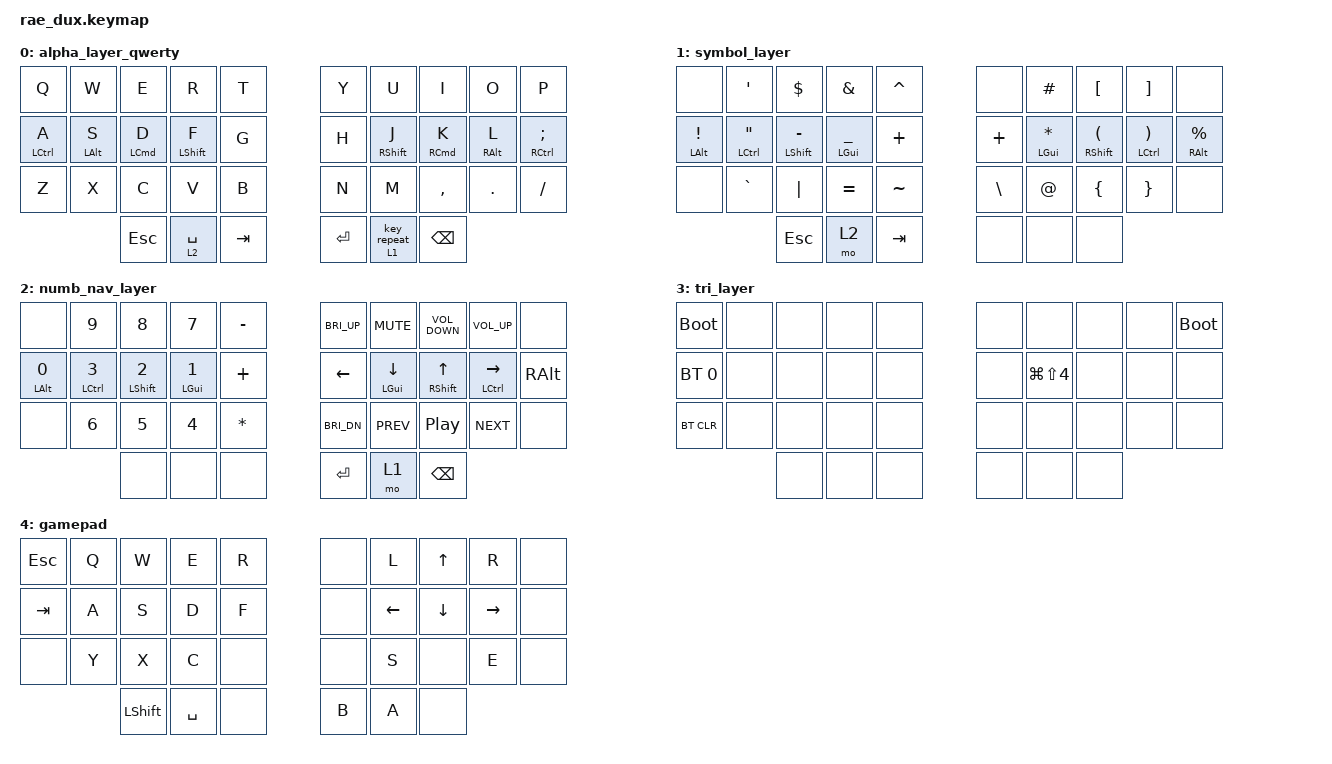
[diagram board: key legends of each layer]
/*
 * Copyright (c) 2021 The ZMK Contributors
 *
 * SPDX-License-Identifier: MIT
 */

#include <behaviors.dtsi>
#include <dt-bindings/zmk/bt.h>
#include <dt-bindings/zmk/keys.h>

&lt { flavor = "hold-preferred"; };

/ {
    conditional_layers {
        compatible = "zmk,conditional-layers";

        Tri {
            if-layers = <2 1>;
            then-layer = <3>;
        };
    };

    behaviors {
        hrm: home_row_mods {
            compatible = "zmk,behavior-hold-tap";
            label = "HOME_ROW_MODS";
            #binding-cells = <2>;
            flavor = "balanced";
            tapping-term-ms = <200>;
            bindings = <&kp>, <&kp>;
        };

        lt_repeat: lt_repeat {
            compatible = "zmk,behavior-hold-tap";
            label = "LT_REPEAT";
            bindings = <&mo>, <&key_repeat>;

            #binding-cells = <2>;
            flavor = "hold-preferred";
            tapping-term-ms = <200>;
        };
    };

    combos {
        compatible = "zmk,combos";

        Gamepad {
            bindings = <&tog 4>;
            key-positions = <8 28>;
        };
    };

    keymap {
        compatible = "zmk,keymap";

        alpha_layer_qwerty {
            bindings = <
&kp Q                &kp W            &kp E                &kp R              &kp T                              &kp Y           &kp U               &kp I                 &kp O             &kp P
&hrm LEFT_CONTROL A  &hrm LEFT_ALT S  &hrm LEFT_COMMAND D  &hrm LEFT_SHIFT F  &kp G                              &kp H           &hrm RIGHT_SHIFT J  &hrm RIGHT_COMMAND K  &hrm RIGHT_ALT L  &hrm RIGHT_CONTROL SEMICOLON
&kp Z                &kp X            &kp C                &kp V              &kp B                              &kp N           &kp M               &kp COMMA             &kp DOT           &kp SLASH
                                                           &kp ESC            &lt 2 SPACE  &kp TAB    &kp ENTER  &lt_repeat 1 0  &kp BSPC
            >;
        };

        Symbol {
            bindings = <
&none                      &kp SINGLE_QUOTE          &kp DOLLAR             &kp AMPERSAND         &kp CARET                    &none          &kp POUND        &kp LEFT_BRACKET                   &kp RIGHT_BRACKET             &none
&hrm LEFT_ALT EXCLAMATION  &hrm LCTRL DOUBLE_QUOTES  &hrm LEFT_SHIFT MINUS  &hrm LGUI UNDERSCORE  &kp PLUS                     &kp PLUS       &hrm LGUI ASTRK  &hrm RIGHT_SHIFT LEFT_PARENTHESIS  &hrm LCTRL RIGHT_PARENTHESIS  &hrm RIGHT_ALT PERCENT
&none                      &kp GRAVE                 &kp PIPE               &kp EQUAL             &kp TILDE                    &kp BACKSLASH  &kp AT_SIGN      &kp LEFT_BRACE                     &kp RIGHT_BRACE               &none
                                                                            &kp ESC               &mo 2      &kp TAB    &none  &none          &none
            >;

            label = "symbol_layer";
        };

        Numbers_Navigation {
            bindings = <
&none             &kp NUMBER_9   &kp NUMBER_8        &kp NUMBER_7  &kp MINUS                      &kp C_BRI_UP  &kp C_MUTE      &kp C_VOLUME_DOWN    &kp C_VOLUME_UP   &none
&hrm LEFT_ALT N0  &hrm LCTRL N3  &hrm LEFT_SHIFT N2  &hrm LGUI N1  &kp PLUS                       &kp LEFT      &hrm LGUI DOWN  &hrm RIGHT_SHIFT UP  &hrm LCTRL RIGHT  &kp RIGHT_ALT
&none             &kp NUMBER_6   &kp NUMBER_5        &kp NUMBER_4  &kp STAR                       &kp C_BRI_DN  &kp C_PREV      &kp C_PP             &kp C_NEXT        &none
                                                     &none         &none      &none    &kp ENTER  &mo 1         &kp BSPC
            >;

            label = "numb_nav_layer";
        };

        Tri {
            bindings = <
&bootloader   &none  &none  &none  &none                  &none  &none           &none  &none  &bootloader
&bt BT_SEL 0  &none  &none  &none  &none                  &none  &kp LG(LS(N4))  &none  &none  &none
&bt BT_CLR    &none  &none  &none  &none                  &none  &none           &none  &none  &none
                            &none  &none  &none    &none  &none  &none
            >;

            label = "tri_layer";
        };

        gamepad {
            bindings = <
&kp ESC  &kp Q  &kp W  &kp E      &kp R                      &none  &kp L     &kp UP    &kp R      &none
&kp TAB  &kp A  &kp S  &kp D      &kp F                      &none  &kp LEFT  &kp DOWN  &kp RIGHT  &none
&none    &kp Y  &kp X  &kp C      &none                      &none  &kp S     &none     &kp E      &none
                       &kp LSHFT  &kp SPACE  &none    &kp B  &kp A  &none
            >;
        };
    };
};
